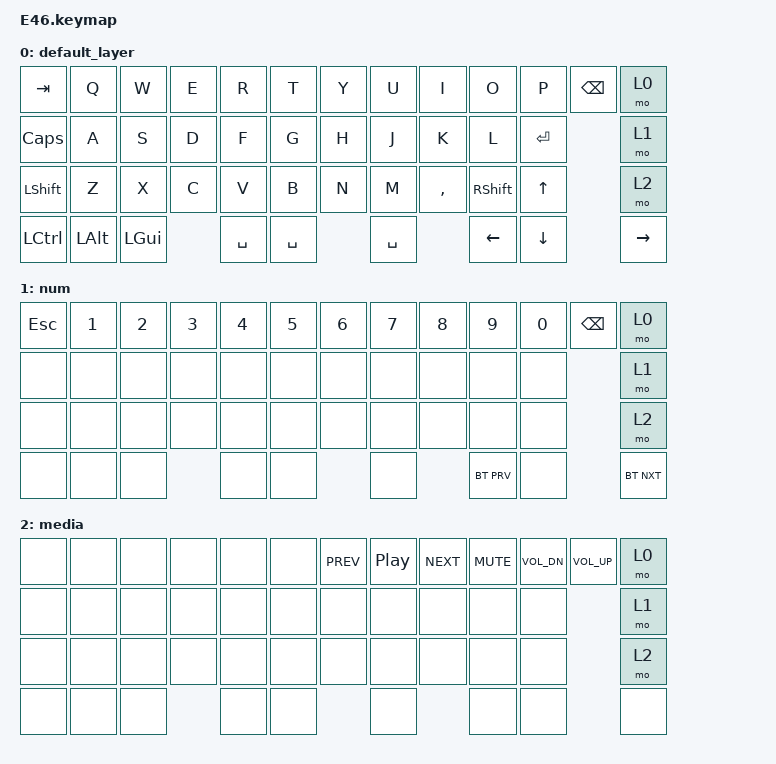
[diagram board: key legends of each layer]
/*
 * Copyright (c) 2020 The ZMK Contributors
 *
 * SPDX-License-Identifier: MIT
 */

#include <behaviors.dtsi>
#include <dt-bindings/zmk/bt.h>
#include <dt-bindings/zmk/keys.h>

/ {
    keymap {
        compatible = "zmk,keymap";

        default_layer {
            // ----------------------------------------------------------------------------------------------------------
            // |  ESC  |  1   |  2   |  3   |  4   |  5   |-------|-------|   6   |  7    |  8   |  9   |   0   | BSPC  |
            // |  TAB  |  Q   |  W   |  E   |  R   |  T   |-------|-------|   Y   |  U    |  I   |  O   |   P   |  \    |
            // | SHIFT |  A   |  S   |  D   |  F   |  G   |-------|-------|   H   |  J    |  K   |  L   |   ;   |  '    |
            // | CTRL  |  Z   |  X   |  C   |  V   |  B   |-------|-------|   N   |  M    |  ,   |  .   |   /   | ENTER |
            // |-------|ADJUST| LCTL | LALT | LGUI | LOWR | SPACE | SPACE |  RAIS | LEFT | DOWN | UARW  | RARW  |-------|

            bindings = <
&kp TAB   &kp Q      &kp W      &kp E      &kp R           &kp T           &kp Y            &kp U      &kp I       &kp O           &kp P          &kp BSPC   &mo 0
&kp CAPS  &kp A      &kp S      &kp D      &kp F           &kp G           &kp H            &kp J      &kp K       &kp L           &kp ENTER                 &mo 1
&kp LSHFT &kp Z      &kp X      &kp C      &kp V           &kp B           &kp N            &kp M      &kp COMMA   &kp RSHIFT      &kp UP_ARROW              &mo 2
&kp LCTRL  &kp LALT  &kp LGUI              &kp SPACE       &kp SPACE                        &kp SPACE              &kp LEFT_ARROW  &kp DOWN_ARROW            &kp RIGHT_ARROW
            >;
        };

        num {
            // ----------------------------------------------------------------------------------------------------------
            // |  ESC  |  F2  |  F3  |  F4  |  F5  |  F6  |-------|-------|   F7  |  F8   |  F9  | F10  |  F11  |  F12  |
            // |   ~   |  !   |  @   |  #   |  $   |  %   |-------|-------|   ^   |   &   |  *   |  (   |   )   |  DEL  |
            // |       |  F1  |  F2  |  F3  |  F4  |  F5  |-------|-------|   F6  |   _   |  +   |  {   |   }   |   |   |
            // |       |  F7  |  F8  |  F9  |  F10 |  F11 |-------|-------|   F12 | LS(#) |LS(|) |      |       |       |
            // |-------|      |      |      |      |      |       |       |       | NEXT  | Vol- | Vol+ | PLAY  |-------|

            bindings = <
&kp ESC  &kp NUMBER_1  &kp NUMBER_2  &kp NUMBER_3  &kp NUMBER_4  &kp NUMBER_5  &kp NUMBER_6  &kp N7  &kp NUMBER_8  &kp NUMBER_9  &kp NUMBER_0  &kp BSPC  &mo 0
&none    &none         &none         &none         &none         &none         &none         &none   &none         &none         &none         &mo 1
&none &none    &none         &none         &none         &none         &none         &none         &none   &none         &none         &mo 2
&none     &none &none    &none         &none         &none         &bt BT_PRV    &none         &bt BT_NXT
            >;
        };

        media {
            bindings = <
&none  &none  &none  &none  &none  &none  &kp C_PREV  &kp C_PLAY_PAUSE  &kp C_NEXT  &kp K_MUTE  &kp C_VOL_DN  &kp C_VOLUME_UP  &mo 0
&none  &none  &none  &none  &none  &none  &none       &none             &none       &none       &none         &mo 1
&none  &none  &none  &none  &none  &none  &none  &none       &none             &none       &none       &mo 2
&none            &none &none  &none  &none  &none  &none  &none  &none
            >;
        };
    };
};
